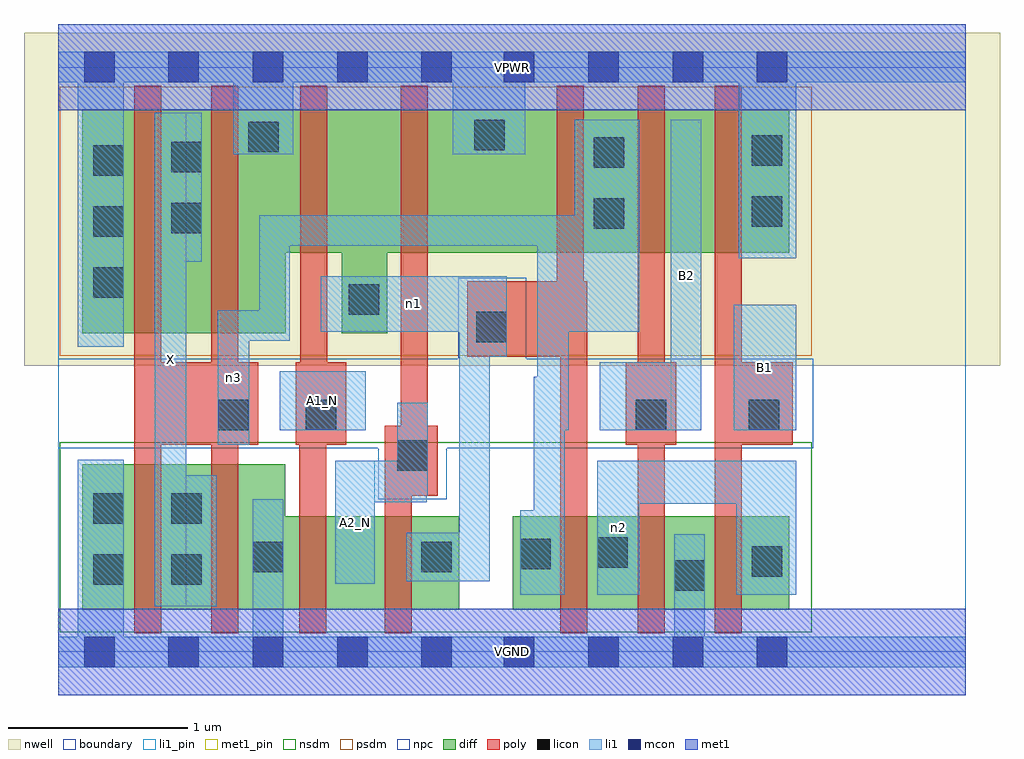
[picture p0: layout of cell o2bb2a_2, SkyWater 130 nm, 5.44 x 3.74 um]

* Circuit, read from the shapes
.subckt o2bb2a_2 A1_N A2_N B1 B2 VGND VPWR X n1 n2 n3
XM1 X n3 VGND VSUBS sky130_fd_pr__nfet_01v8 w=0.81 l=0.15 m=2
XM2 n4 A1_N VGND VSUBS sky130_fd_pr__nfet_01v8 w=0.52 l=0.15
XM3 n1 A2_N n4 VSUBS sky130_fd_pr__nfet_01v8 w=0.52 l=0.15
XM4 n2 n1 n3 VSUBS sky130_fd_pr__nfet_01v8 w=0.52 l=0.15
XM5 VGND B2 n2 VSUBS sky130_fd_pr__nfet_01v8 w=0.52 l=0.15
XM6 n2 B1 VGND VSUBS sky130_fd_pr__nfet_01v8 w=0.52 l=0.15
XM7 X n3 VPWR n5 sky130_fd_pr__pfet_01v8 w=1.25 l=0.15 m=2
XM8 n1 A1_N VPWR n5 sky130_fd_pr__pfet_01v8 w=0.8 l=0.15
XM9 VPWR A2_N n1 n5 sky130_fd_pr__pfet_01v8 w=0.8 l=0.15
XM10 n3 n1 VPWR n5 sky130_fd_pr__pfet_01v8 w=0.8 l=0.15
XM11 n6 B2 n3 n5 sky130_fd_pr__pfet_01v8 w=0.8 l=0.15
XM12 VPWR B1 n6 n5 sky130_fd_pr__pfet_01v8 w=0.8 l=0.15
.ends

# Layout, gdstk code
import gdstk
lib = gdstk.Library(unit=1e-6, precision=1e-09)
def R(c, l, rs):  # rectangles x0, y0, x1, y1
    for r in rs: c.add(gdstk.rectangle(r[:2], r[2:], *l))
def A(c, l, x, y, w, h, nx, ny, dx, dy):  # array of equal rectangles
    R(c, l, [(x+i*dx, y+j*dy, x+i*dx+w, y+j*dy+h) for i in range(nx) for j in range(ny)])
nwell = (64, 20)
diff = (65, 20)
poly = (66, 20)
licon = (66, 44)
li1_pin = (67, 16)
li1 = (67, 20)
mcon = (67, 44)
met1_pin = (68, 16)
met1 = (68, 20)
nsdm = (93, 44)
psdm = (94, 20)
npc = (95, 20)
boundary = (235, 4)

o2bb2a_2 = lib.new_cell('o2bb2a_2')
R(o2bb2a_2, nwell, [(-0.19,1.595,5.25,3.45), (0,1.595,5.06,3.45)])
R(o2bb2a_2, diff, [(0.135,0.235,2.235,0.755), (0.135,0.235,1.265,1.045), (2.535,0.235,4.075,0.755), (0.135,1.775,1.27,3.025), (1.58,1.775,1.835,3.025), (0.135,2.225,4.075,3.025)])
R(o2bb2a_2, poly, [(0.425,0.105,0.575,3.155), (0.855,0.105,1.005,3.155), (1.345,0.105,1.495,1.615), (1.82,0.105,1.97,1.26), (2.8,0.105,2.93,3.155), (2.8,0.105,2.95,2.065), (3.23,0.105,3.38,3.155), (3.66,0.105,3.81,3.155), (1.82,0.87,2.115,1.26), (0.425,1.155,1.115,1.615), (1.325,1.155,1.605,1.615), (1.35,1.155,1.5,3.155), (3.165,1.155,3.445,1.615), (3.66,1.155,4.095,1.615), (1.91,1.26,2.06,3.155), (2.28,1.645,2.95,2.065), (2.78,1.645,2.93,3.155)])
A(o2bb2a_2, licon, 0.195, 1.975, 0.17, 0.17, 1, 3, 0, 0.34)
R(o2bb2a_2, licon, [(3.435,0.34,3.605,0.51), (0.195,0.375,0.365,0.545), (0.63,0.375,0.8,0.545), (3.865,0.42,4.035,0.59), (1.085,0.445,1.255,0.615), (2.025,0.445,2.195,0.615), (2.575,0.46,2.745,0.63), (3.005,0.47,3.175,0.64), (0.195,0.715,0.365,0.885), (0.63,0.715,0.8,0.885), (1.89,1.01,2.06,1.18), (0.89,1.235,1.06,1.405), (1.38,1.235,1.55,1.405), (3.22,1.235,3.39,1.405), (3.85,1.235,4.02,1.405), (2.33,1.725,2.5,1.895), (1.62,1.88,1.79,2.05), (0.63,2.335,0.8,2.505), (2.985,2.36,3.155,2.53), (3.865,2.37,4.035,2.54), (0.63,2.675,0.8,2.845), (2.985,2.7,3.155,2.87), (3.865,2.71,4.035,2.88), (1.06,2.785,1.23,2.955), (2.32,2.795,2.49,2.965)])
R(o2bb2a_2, li1_pin, [(0.54,0.255,0.715,3.005), (1.545,0.38,1.765,1.065), (1.235,1.235,1.715,1.565), (3.415,1.235,3.585,2.965), (3.765,1.235,4.115,1.935)])
R(o2bb2a_2, li1, [(0,-0.085,5.06,0.085), (0.11,-0.085,0.365,1.07), (1.085,-0.085,1.255,0.85), (3.435,-0.085,3.605,0.655), (0.54,0.255,0.715,3.005), (0.54,0.255,0.885,0.985), (2.575,0.32,2.825,0.79), (2.65,0.32,2.825,1.535), (3.005,0.32,3.24,1.065), (3.78,0.32,4.115,1.065), (1.545,0.38,1.765,1.065), (1.94,0.395,2.405,0.665), (2.235,0.395,2.405,2.095), (3.005,0.825,4.115,1.065), (1.765,0.835,2.055,1.065), (1.89,0.87,2.06,1.39), (0.89,1.155,1.065,1.905), (1.235,1.235,1.715,1.565), (2.67,1.235,2.845,2.435), (3.02,1.235,3.585,1.615), (3.415,1.235,3.585,2.965), (3.765,1.235,4.115,1.935), (2.235,1.645,2.5,2.095), (0.11,1.7,0.365,3.345), (0.89,1.735,1.29,1.905), (1.12,1.735,1.29,2.435), (1.465,1.785,2.5,2.095), (2.67,1.785,3.24,2.435), (2.88,1.785,3.24,2.965), (0.54,2.175,0.8,3.005), (3.795,2.195,4.115,3.345), (1.12,2.265,3.24,2.435), (0.975,2.775,1.31,3.345), (2.2,2.775,2.605,3.345), (0,3.175,5.06,3.345)])
A(o2bb2a_2, mcon, 0.145, -0.085, 0.17, 0.17, 5, 2, 0.47, 3.26)
A(o2bb2a_2, mcon, 2.485, -0.085, 0.17, 0.17, 4, 2, 0.47, 3.26)
R(o2bb2a_2, met1_pin, [(0,-0.24,5.06,0.24), (0,3.02,5.06,3.5)])
R(o2bb2a_2, met1, [(0,-0.24,5.06,0.24), (0,3.02,5.06,3.5)])
R(o2bb2a_2, nsdm, [(0.01,0.11,4.2,1.17)])
R(o2bb2a_2, psdm, [(0.01,1.65,4.2,3.15)])
R(o2bb2a_2, npc, [(1.785,0.85,2.165,1.635), (0,1.135,4.21,1.635), (2.23,1.135,2.61,2.085)])
R(o2bb2a_2, boundary, [(0,0,5.06,3.26)])
o2bb2a_2.add(gdstk.Label('A1_N', (1.475,1.4), layer=67, texttype=5))
o2bb2a_2.add(gdstk.Label('A2_N', (1.655,0.722), layer=67, texttype=5))
o2bb2a_2.add(gdstk.Label('B1', (3.94,1.585), layer=67, texttype=5))
o2bb2a_2.add(gdstk.Label('B2', (3.5,2.1), layer=67, texttype=5))
o2bb2a_2.add(gdstk.Label('X', (0.627,1.63), layer=67, texttype=5))
o2bb2a_2.add(gdstk.Label('n2', (3.122,0.692), layer=67, texttype=5))
o2bb2a_2.add(gdstk.Label('n1', (1.982,1.94), layer=67, texttype=5))
o2bb2a_2.add(gdstk.Label('n3', (0.977,1.53), layer=67, texttype=5))
o2bb2a_2.add(gdstk.Label('VPWR', (2.53,3.26), layer=68, texttype=5))
o2bb2a_2.add(gdstk.Label('VGND', (2.53,0), layer=68, texttype=5))
o2bb2a_2.add(gdstk.Label('A1_N', (1.475,1.4), layer=67, texttype=16))
o2bb2a_2.add(gdstk.Label('A2_N', (1.655,0.722), layer=67, texttype=16))
o2bb2a_2.add(gdstk.Label('B1', (3.94,1.585), layer=67, texttype=16))
o2bb2a_2.add(gdstk.Label('B2', (3.5,2.1), layer=67, texttype=16))
o2bb2a_2.add(gdstk.Label('X', (0.627,1.63), layer=67, texttype=16))
o2bb2a_2.add(gdstk.Label('VPWR', (2.53,3.26), layer=68, texttype=16))
o2bb2a_2.add(gdstk.Label('VGND', (2.53,0), layer=68, texttype=16))

lib.write_gds('o2bb2a_2.gds')
